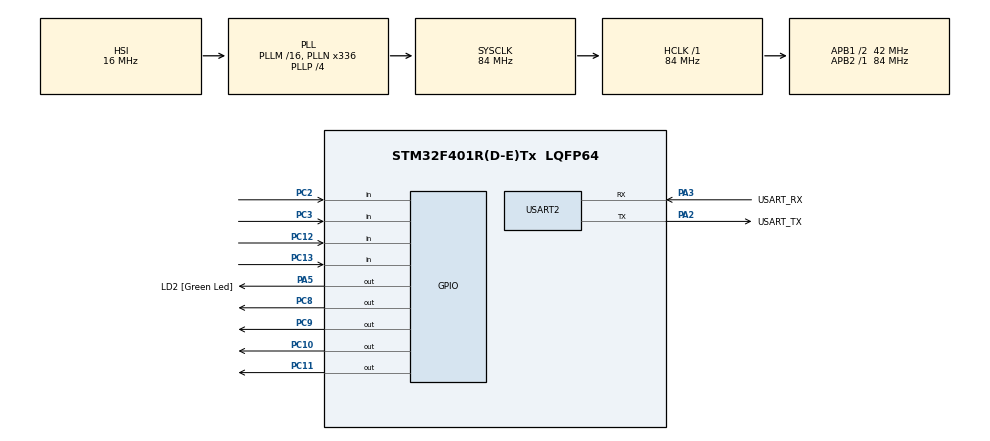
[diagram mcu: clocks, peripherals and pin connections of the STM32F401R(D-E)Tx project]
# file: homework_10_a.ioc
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Mcu.Family=STM32F4
Mcu.Name=STM32F401R(D-E)Tx
Mcu.Package=LQFP64
NVIC.PriorityGroup=NVIC_PRIORITYGROUP_0
PA13.GPIO_Label=TMS
PA13.Mode=Serial_Wire
PA13.Signal=SYS_JTMS-SWDIO
PA14.GPIO_Label=TCK
PA14.Mode=Serial_Wire
PA14.Signal=SYS_JTCK-SWCLK
PA2.GPIO_Label=USART_TX
PA2.GPIO_Mode=GPIO_MODE_AF_PP
PA2.GPIO_PuPd=GPIO_NOPULL
PA2.GPIO_Speed=GPIO_SPEED_FREQ_LOW
PA2.Mode=Asynchronous
PA2.Signal=USART2_TX
PA3.GPIO_Label=USART_RX
PA3.GPIO_Mode=GPIO_MODE_AF_PP
PA3.GPIO_PuPd=GPIO_NOPULL
PA3.GPIO_Speed=GPIO_SPEED_FREQ_LOW
PA3.Mode=Asynchronous
PA3.Signal=USART2_RX
PA5.GPIO_Label=LD2 [Green Led]
PA5.GPIO_Mode=GPIO_MODE_OUTPUT_PP
PA5.GPIO_PuPd=GPIO_NOPULL
PA5.GPIO_Speed=GPIO_SPEED_FREQ_LOW
PA5.Signal=GPIO_Output
PB3.GPIO_Label=SWO
PB3.Signal=SYS_JTDO-SWO
PC10.Signal=GPIO_Output
PC11.Signal=GPIO_Output
PC12.Signal=GPIO_Input
PC13-ANTI_TAMP.Signal=GPIO_Input
PC14-OSC32_IN.Mode=LSE-External-Oscillator
PC14-OSC32_IN.Signal=RCC_OSC32_IN
PC15-OSC32_OUT.Mode=LSE-External-Oscillator
PC15-OSC32_OUT.Signal=RCC_OSC32_OUT
PC2.Signal=GPIO_Input
PC3.Signal=GPIO_Input
PC8.Signal=GPIO_Output
PC9.Signal=GPIO_Output
PH0\ -\ OSC_IN.Mode=HSE-External-Clock-Source
PH0\ -\ OSC_IN.Signal=RCC_OSC_IN
PH1\ -\ OSC_OUT.Mode=HSE-External-Clock-Source
PH1\ -\ OSC_OUT.Signal=RCC_OSC_OUT
ProjectManager.HeapSize=0x200
ProjectManager.StackSize=0x400
ProjectManager.TargetToolchain=STM32CubeIDE
RCC.48MHZClocksFreq_Value=48000000
RCC.AHBFreq_Value=84000000
RCC.APB1CLKDivider=RCC_HCLK_DIV2
RCC.APB1Freq_Value=42000000
RCC.APB1TimFreq_Value=84000000
RCC.APB2Freq_Value=84000000
RCC.APB2TimFreq_Value=84000000
RCC.CortexFreq_Value=84000000
RCC.HCLKFreq_Value=84000000
RCC.HSE_VALUE=8000000
RCC.HSI_VALUE=16000000
RCC.PLLN=336
RCC.PLLP=RCC_PLLP_DIV4
RCC.PLLQ=7
RCC.SYSCLKFreq_VALUE=84000000
RCC.SYSCLKSource=RCC_SYSCLKSOURCE_PLLCLK
RCC.VCOOutputFreq_Value=336000000
USART2.VirtualMode=VM_ASYNC
board=NUCLEO-F401RE

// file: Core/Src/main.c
/* USER CODE BEGIN Header */
/**
  ******************************************************************************
  * @file           : main.c
  * @brief          : Main program body
  ******************************************************************************
  * @attention
  *
  * Copyright (c) 2022 STMicroelectronics.
  * All rights reserved.
  *
  * This software is licensed under terms that can be found in the LICENSE file
  * in the root directory of this software component.
  * If no LICENSE file comes with this software, it is provided AS-IS.
  *
  ******************************************************************************
  */
/* USER CODE END Header */
#include "main.h"

UART_HandleTypeDef huart2;

void SystemClock_Config(void);
static void MX_GPIO_Init(void);
static void MX_USART2_UART_Init(void);

int main(void)
{

  /* MCU Configuration--------------------------------------------------------*/

  /* Reset of all peripherals, Initializes the Flash interface and the Systick. */
  HAL_Init();

  /* Configure the system clock */
  SystemClock_Config();

  /* Initialize all configured peripherals */
  MX_GPIO_Init();
  MX_USART2_UART_Init();
  /* USER CODE BEGIN 2 */
  // All of the rows
  uint16_t row[4] = {GPIO_PIN_12, GPIO_PIN_13, GPIO_PIN_2, GPIO_PIN_3};
  // All of the columns
  uint16_t col[4] = {GPIO_PIN_8, GPIO_PIN_9, GPIO_PIN_10, GPIO_PIN_11};
  // The buttons being pressed, 1 for not pressed, 0 for pressed
  uint8_t button[4][4] = {{0, 0, 0, 0},
  	  	  	  	  	  	  {0, 0, 0, 0},
						  {0, 0, 0, 0},
  	  	  	  	  	  	  {0, 0, 0, 0}};
  // Previous buttons being pressed, 1 for not pressed before, 0 for pressed before
  uint8_t old_button[4][4] = {{0, 0, 0, 0},
	  	  	  	  	  	  	  {0, 0, 0, 0},
							  {0, 0, 0, 0},
							  {0, 0, 0, 0}};
  // String for text
  char character[4][4] = {"0123", "4567", "89AB", "CDEF"};
  /* USER CODE END 2 */

  /* Infinite loop */
  while (1)
  {

    /* USER CODE BEGIN 3 */
	  for(int k = 0; k < 4; k++) {
		  // Setting all the columns one at a time
		  HAL_GPIO_WritePin(GPIOC, col[k], GPIO_PIN_SET);
		  HAL_Delay(5);
		  for(int i = 0; i < 4; i++) {
			  // Reading and storing all the rows in the column one at a time
			  button[k][i] = HAL_GPIO_ReadPin(GPIOC, row[i]);
		  }
		  // Resetting all the columns one at a time
		  HAL_GPIO_WritePin(GPIOC, col[k], GPIO_PIN_RESET);
		  for(int i = 0; i < 4; i++) {
			if(button[k][i] == 0 && old_button[k][i] == 1) {
				// Display the pressed button in the terminal with debounce
				HAL_UART_Transmit(&huart2, &character[i][k], 1, 10);
			}
			// Storing the previous statement for pressed button for debounce
			old_button[k][i] = button[k][i];
		  }
	  }
  }
  /* USER CODE END 3 */
}

void SystemClock_Config(void)
{
  RCC_OscInitTypeDef RCC_OscInitStruct = {0};
  RCC_ClkInitTypeDef RCC_ClkInitStruct = {0};

  /** Configure the main internal regulator output voltage
  */
  __HAL_RCC_PWR_CLK_ENABLE();
  __HAL_PWR_VOLTAGESCALING_CONFIG(PWR_REGULATOR_VOLTAGE_SCALE2);

  /** Initializes the RCC Oscillators according to the specified parameters
  * in the RCC_OscInitTypeDef structure.
  */
  RCC_OscInitStruct.OscillatorType = RCC_OSCILLATORTYPE_HSI;
  RCC_OscInitStruct.HSIState = RCC_HSI_ON;
  RCC_OscInitStruct.HSICalibrationValue = RCC_HSICALIBRATION_DEFAULT;
  RCC_OscInitStruct.PLL.PLLState = RCC_PLL_ON;
  RCC_OscInitStruct.PLL.PLLSource = RCC_PLLSOURCE_HSI;
  RCC_OscInitStruct.PLL.PLLM = 16;
  RCC_OscInitStruct.PLL.PLLN = 336;
  RCC_OscInitStruct.PLL.PLLP = RCC_PLLP_DIV4;
  RCC_OscInitStruct.PLL.PLLQ = 7;
  if (HAL_RCC_OscConfig(&RCC_OscInitStruct) != HAL_OK)
  {
    Error_Handler();
  }

  /** Initializes the CPU, AHB and APB buses clocks
  */
  RCC_ClkInitStruct.ClockType = RCC_CLOCKTYPE_HCLK|RCC_CLOCKTYPE_SYSCLK
                              |RCC_CLOCKTYPE_PCLK1|RCC_CLOCKTYPE_PCLK2;
  RCC_ClkInitStruct.SYSCLKSource = RCC_SYSCLKSOURCE_PLLCLK;
  RCC_ClkInitStruct.AHBCLKDivider = RCC_SYSCLK_DIV1;
  RCC_ClkInitStruct.APB1CLKDivider = RCC_HCLK_DIV2;
  RCC_ClkInitStruct.APB2CLKDivider = RCC_HCLK_DIV1;

  if (HAL_RCC_ClockConfig(&RCC_ClkInitStruct, FLASH_LATENCY_2) != HAL_OK)
  {
    Error_Handler();
  }
}

static void MX_USART2_UART_Init(void)
{

  huart2.Instance = USART2;
  huart2.Init.BaudRate = 115200;
  huart2.Init.WordLength = UART_WORDLENGTH_8B;
  huart2.Init.StopBits = UART_STOPBITS_1;
  huart2.Init.Parity = UART_PARITY_NONE;
  huart2.Init.Mode = UART_MODE_TX_RX;
  huart2.Init.HwFlowCtl = UART_HWCONTROL_NONE;
  huart2.Init.OverSampling = UART_OVERSAMPLING_16;
  if (HAL_UART_Init(&huart2) != HAL_OK)
  {
    Error_Handler();
  }

}

static void MX_GPIO_Init(void)
{
  GPIO_InitTypeDef GPIO_InitStruct = {0};

  /* GPIO Ports Clock Enable */
  __HAL_RCC_GPIOC_CLK_ENABLE();
  __HAL_RCC_GPIOH_CLK_ENABLE();
  __HAL_RCC_GPIOA_CLK_ENABLE();
  __HAL_RCC_GPIOB_CLK_ENABLE();

  /*Configure GPIO pin Output Level */
  HAL_GPIO_WritePin(LD2_GPIO_Port, LD2_Pin, GPIO_PIN_RESET);

  /*Configure GPIO pin Output Level */
  HAL_GPIO_WritePin(GPIOC, GPIO_PIN_8|GPIO_PIN_9|GPIO_PIN_10|GPIO_PIN_11, GPIO_PIN_RESET);

  /*Configure GPIO pins : PC13 PC2 PC3 PC12 */
  GPIO_InitStruct.Pin = GPIO_PIN_13|GPIO_PIN_2|GPIO_PIN_3|GPIO_PIN_12;
  GPIO_InitStruct.Mode = GPIO_MODE_INPUT;
  GPIO_InitStruct.Pull = GPIO_NOPULL;
  HAL_GPIO_Init(GPIOC, &GPIO_InitStruct);

  /*Configure GPIO pin : LD2_Pin */
  GPIO_InitStruct.Pin = LD2_Pin;
  GPIO_InitStruct.Mode = GPIO_MODE_OUTPUT_PP;
  GPIO_InitStruct.Pull = GPIO_NOPULL;
  GPIO_InitStruct.Speed = GPIO_SPEED_FREQ_LOW;
  HAL_GPIO_Init(LD2_GPIO_Port, &GPIO_InitStruct);

  /*Configure GPIO pins : PC8 PC9 PC10 PC11 */
  GPIO_InitStruct.Pin = GPIO_PIN_8|GPIO_PIN_9|GPIO_PIN_10|GPIO_PIN_11;
  GPIO_InitStruct.Mode = GPIO_MODE_OUTPUT_PP;
  GPIO_InitStruct.Pull = GPIO_NOPULL;
  GPIO_InitStruct.Speed = GPIO_SPEED_FREQ_LOW;
  HAL_GPIO_Init(GPIOC, &GPIO_InitStruct);

}

void Error_Handler(void)
{
  __disable_irq();
  while (1)
  {
  }
}
